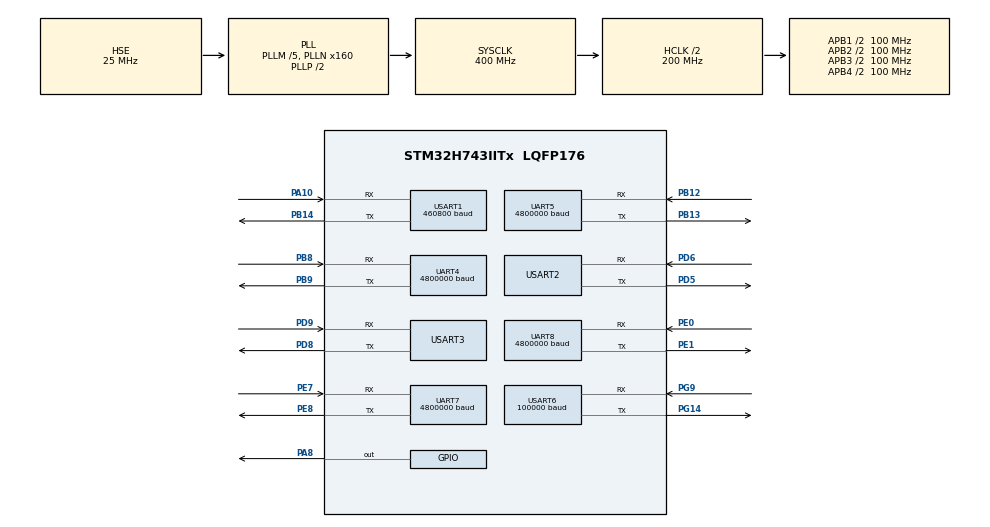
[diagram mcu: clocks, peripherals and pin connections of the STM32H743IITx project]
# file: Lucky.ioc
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Dma.Request0=USART1_RX
Dma.Request1=USART2_RX
Dma.Request10=USART3_TX
Dma.Request2=USART3_RX
Dma.Request3=UART4_RX
Dma.Request4=UART5_RX
Dma.Request5=UART7_RX
Dma.Request6=UART8_RX
Dma.Request7=USART6_RX
Dma.Request8=USART6_TX
Dma.Request9=USART2_TX
Dma.UART4_RX.3.Direction=DMA_PERIPH_TO_MEMORY
Dma.UART4_RX.3.EventEnable=DISABLE
Dma.UART4_RX.3.FIFOMode=DMA_FIFOMODE_DISABLE
Dma.UART4_RX.3.Instance=DMA2_Stream0
Dma.UART4_RX.3.MemDataAlignment=DMA_MDATAALIGN_BYTE
Dma.UART4_RX.3.MemInc=DMA_MINC_ENABLE
Dma.UART4_RX.3.Mode=DMA_NORMAL
Dma.UART4_RX.3.PeriphDataAlignment=DMA_PDATAALIGN_BYTE
Dma.UART4_RX.3.PeriphInc=DMA_PINC_DISABLE
Dma.UART4_RX.3.Polarity=HAL_DMAMUX_REQ_GEN_RISING
Dma.UART4_RX.3.Priority=DMA_PRIORITY_LOW
Dma.UART4_RX.3.RequestNumber=1
Dma.UART4_RX.3.SignalID=NONE
Dma.UART4_RX.3.SyncEnable=DISABLE
Dma.UART4_RX.3.SyncPolarity=HAL_DMAMUX_SYNC_NO_EVENT
Dma.UART4_RX.3.SyncRequestNumber=1
Dma.UART4_RX.3.SyncSignalID=NONE
Dma.UART5_RX.4.Direction=DMA_PERIPH_TO_MEMORY
Dma.UART5_RX.4.EventEnable=DISABLE
Dma.UART5_RX.4.FIFOMode=DMA_FIFOMODE_DISABLE
Dma.UART5_RX.4.Instance=DMA2_Stream1
Dma.UART5_RX.4.MemDataAlignment=DMA_MDATAALIGN_BYTE
Dma.UART5_RX.4.MemInc=DMA_MINC_ENABLE
Dma.UART5_RX.4.Mode=DMA_NORMAL
Dma.UART5_RX.4.PeriphDataAlignment=DMA_PDATAALIGN_BYTE
Dma.UART5_RX.4.PeriphInc=DMA_PINC_DISABLE
Dma.UART5_RX.4.Polarity=HAL_DMAMUX_REQ_GEN_RISING
Dma.UART5_RX.4.Priority=DMA_PRIORITY_LOW
Dma.UART5_RX.4.RequestNumber=1
Dma.UART5_RX.4.SignalID=NONE
Dma.UART5_RX.4.SyncEnable=DISABLE
Dma.UART5_RX.4.SyncPolarity=HAL_DMAMUX_SYNC_NO_EVENT
Dma.UART5_RX.4.SyncRequestNumber=1
Dma.UART5_RX.4.SyncSignalID=NONE
Dma.UART7_RX.5.Direction=DMA_PERIPH_TO_MEMORY
Dma.UART7_RX.5.EventEnable=DISABLE
Dma.UART7_RX.5.FIFOMode=DMA_FIFOMODE_DISABLE
Dma.UART7_RX.5.Instance=DMA1_Stream0
Dma.UART7_RX.5.MemDataAlignment=DMA_MDATAALIGN_BYTE
Dma.UART7_RX.5.MemInc=DMA_MINC_ENABLE
Dma.UART7_RX.5.Mode=DMA_NORMAL
Dma.UART7_RX.5.PeriphDataAlignment=DMA_PDATAALIGN_BYTE
Dma.UART7_RX.5.PeriphInc=DMA_PINC_DISABLE
Dma.UART7_RX.5.Polarity=HAL_DMAMUX_REQ_GEN_RISING
Dma.UART7_RX.5.Priority=DMA_PRIORITY_LOW
Dma.UART7_RX.5.RequestNumber=1
Dma.UART7_RX.5.SignalID=NONE
Dma.UART7_RX.5.SyncEnable=DISABLE
Dma.UART7_RX.5.SyncPolarity=HAL_DMAMUX_SYNC_NO_EVENT
Dma.UART7_RX.5.SyncRequestNumber=1
Dma.UART7_RX.5.SyncSignalID=NONE
Dma.UART8_RX.6.Direction=DMA_PERIPH_TO_MEMORY
Dma.UART8_RX.6.EventEnable=DISABLE
Dma.UART8_RX.6.FIFOMode=DMA_FIFOMODE_DISABLE
Dma.UART8_RX.6.Instance=DMA1_Stream1
Dma.UART8_RX.6.MemDataAlignment=DMA_MDATAALIGN_BYTE
Dma.UART8_RX.6.MemInc=DMA_MINC_ENABLE
Dma.UART8_RX.6.Mode=DMA_NORMAL
Dma.UART8_RX.6.PeriphDataAlignment=DMA_PDATAALIGN_BYTE
Dma.UART8_RX.6.PeriphInc=DMA_PINC_DISABLE
Dma.UART8_RX.6.Polarity=HAL_DMAMUX_REQ_GEN_RISING
Dma.UART8_RX.6.Priority=DMA_PRIORITY_LOW
Dma.UART8_RX.6.RequestNumber=1
Dma.UART8_RX.6.SignalID=NONE
Dma.UART8_RX.6.SyncEnable=DISABLE
Dma.UART8_RX.6.SyncPolarity=HAL_DMAMUX_SYNC_NO_EVENT
Dma.UART8_RX.6.SyncRequestNumber=1
Dma.UART8_RX.6.SyncSignalID=NONE
Dma.USART1_RX.0.Direction=DMA_PERIPH_TO_MEMORY
Dma.USART1_RX.0.EventEnable=DISABLE
Dma.USART1_RX.0.FIFOMode=DMA_FIFOMODE_DISABLE
Dma.USART1_RX.0.Instance=DMA1_Stream4
Dma.USART1_RX.0.MemDataAlignment=DMA_MDATAALIGN_BYTE
Dma.USART1_RX.0.MemInc=DMA_MINC_ENABLE
Dma.USART1_RX.0.Mode=DMA_NORMAL
Dma.USART1_RX.0.PeriphDataAlignment=DMA_PDATAALIGN_BYTE
Dma.USART1_RX.0.PeriphInc=DMA_PINC_DISABLE
Dma.USART1_RX.0.Polarity=HAL_DMAMUX_REQ_GEN_RISING
Dma.USART1_RX.0.Priority=DMA_PRIORITY_LOW
Dma.USART1_RX.0.RequestNumber=1
Dma.USART1_RX.0.SignalID=NONE
Dma.USART1_RX.0.SyncEnable=DISABLE
Dma.USART1_RX.0.SyncPolarity=HAL_DMAMUX_SYNC_NO_EVENT
Dma.USART1_RX.0.SyncRequestNumber=1
Dma.USART1_RX.0.SyncSignalID=NONE
Dma.USART2_RX.1.Direction=DMA_PERIPH_TO_MEMORY
Dma.USART2_RX.1.EventEnable=DISABLE
Dma.USART2_RX.1.FIFOMode=DMA_FIFOMODE_DISABLE
Dma.USART2_RX.1.Instance=DMA1_Stream5
Dma.USART2_RX.1.MemDataAlignment=DMA_MDATAALIGN_BYTE
Dma.USART2_RX.1.MemInc=DMA_MINC_ENABLE
Dma.USART2_RX.1.Mode=DMA_NORMAL
Dma.USART2_RX.1.PeriphDataAlignment=DMA_PDATAALIGN_BYTE
Dma.USART2_RX.1.PeriphInc=DMA_PINC_DISABLE
Dma.USART2_RX.1.Polarity=HAL_DMAMUX_REQ_GEN_RISING
Dma.USART2_RX.1.Priority=DMA_PRIORITY_LOW
Dma.USART2_RX.1.RequestNumber=1
Dma.USART2_RX.1.SignalID=NONE
Dma.USART2_RX.1.SyncEnable=DISABLE
Dma.USART2_RX.1.SyncPolarity=HAL_DMAMUX_SYNC_NO_EVENT
Dma.USART2_RX.1.SyncRequestNumber=1
Dma.USART2_RX.1.SyncSignalID=NONE
Dma.USART2_TX.9.Direction=DMA_MEMORY_TO_PERIPH
Dma.USART2_TX.9.EventEnable=DISABLE
Dma.USART2_TX.9.FIFOMode=DMA_FIFOMODE_DISABLE
Dma.USART2_TX.9.Instance=DMA1_Stream7
Dma.USART2_TX.9.MemDataAlignment=DMA_MDATAALIGN_BYTE
Dma.USART2_TX.9.MemInc=DMA_MINC_ENABLE
Dma.USART2_TX.9.Mode=DMA_NORMAL
Dma.USART2_TX.9.PeriphDataAlignment=DMA_PDATAALIGN_BYTE
Dma.USART2_TX.9.PeriphInc=DMA_PINC_DISABLE
Dma.USART2_TX.9.Polarity=HAL_DMAMUX_REQ_GEN_RISING
Dma.USART2_TX.9.Priority=DMA_PRIORITY_LOW
Dma.USART2_TX.9.RequestNumber=1
Dma.USART2_TX.9.SignalID=NONE
Dma.USART2_TX.9.SyncEnable=DISABLE
Dma.USART2_TX.9.SyncPolarity=HAL_DMAMUX_SYNC_NO_EVENT
Dma.USART2_TX.9.SyncRequestNumber=1
Dma.USART2_TX.9.SyncSignalID=NONE
Dma.USART3_RX.2.Direction=DMA_PERIPH_TO_MEMORY
Dma.USART3_RX.2.EventEnable=DISABLE
Dma.USART3_RX.2.FIFOMode=DMA_FIFOMODE_DISABLE
Dma.USART3_RX.2.Instance=DMA1_Stream6
Dma.USART3_RX.2.MemDataAlignment=DMA_MDATAALIGN_BYTE
Dma.USART3_RX.2.MemInc=DMA_MINC_ENABLE
Dma.USART3_RX.2.Mode=DMA_NORMAL
Dma.USART3_RX.2.PeriphDataAlignment=DMA_PDATAALIGN_BYTE
Dma.USART3_RX.2.PeriphInc=DMA_PINC_DISABLE
Dma.USART3_RX.2.Polarity=HAL_DMAMUX_REQ_GEN_RISING
Dma.USART3_RX.2.Priority=DMA_PRIORITY_LOW
Dma.USART3_RX.2.RequestNumber=1
Dma.USART3_RX.2.SignalID=NONE
Dma.USART3_RX.2.SyncEnable=DISABLE
Dma.USART3_RX.2.SyncPolarity=HAL_DMAMUX_SYNC_NO_EVENT
Dma.USART3_RX.2.SyncRequestNumber=1
Dma.USART3_RX.2.SyncSignalID=NONE
Dma.USART3_TX.10.Direction=DMA_MEMORY_TO_PERIPH
Dma.USART3_TX.10.EventEnable=DISABLE
Dma.USART3_TX.10.FIFOMode=DMA_FIFOMODE_DISABLE
Dma.USART3_TX.10.Instance=DMA2_Stream2
Dma.USART3_TX.10.MemDataAlignment=DMA_MDATAALIGN_BYTE
Dma.USART3_TX.10.MemInc=DMA_MINC_ENABLE
Dma.USART3_TX.10.Mode=DMA_NORMAL
Dma.USART3_TX.10.PeriphDataAlignment=DMA_PDATAALIGN_BYTE
Dma.USART3_TX.10.PeriphInc=DMA_PINC_DISABLE
Dma.USART3_TX.10.Polarity=HAL_DMAMUX_REQ_GEN_RISING
Dma.USART3_TX.10.Priority=DMA_PRIORITY_LOW
Dma.USART3_TX.10.RequestNumber=1
Dma.USART3_TX.10.SignalID=NONE
Dma.USART3_TX.10.SyncEnable=DISABLE
Dma.USART3_TX.10.SyncPolarity=HAL_DMAMUX_SYNC_NO_EVENT
Dma.USART3_TX.10.SyncRequestNumber=1
Dma.USART3_TX.10.SyncSignalID=NONE
Dma.USART6_RX.7.Direction=DMA_PERIPH_TO_MEMORY
Dma.USART6_RX.7.EventEnable=DISABLE
Dma.USART6_RX.7.FIFOMode=DMA_FIFOMODE_DISABLE
Dma.USART6_RX.7.Instance=DMA1_Stream2
Dma.USART6_RX.7.MemDataAlignment=DMA_MDATAALIGN_BYTE
Dma.USART6_RX.7.MemInc=DMA_MINC_ENABLE
Dma.USART6_RX.7.Mode=DMA_NORMAL
Dma.USART6_RX.7.PeriphDataAlignment=DMA_PDATAALIGN_BYTE
Dma.USART6_RX.7.PeriphInc=DMA_PINC_DISABLE
Dma.USART6_RX.7.Polarity=HAL_DMAMUX_REQ_GEN_RISING
Dma.USART6_RX.7.Priority=DMA_PRIORITY_LOW
Dma.USART6_RX.7.RequestNumber=1
Dma.USART6_RX.7.SignalID=NONE
Dma.USART6_RX.7.SyncEnable=DISABLE
Dma.USART6_RX.7.SyncPolarity=HAL_DMAMUX_SYNC_NO_EVENT
Dma.USART6_RX.7.SyncRequestNumber=1
Dma.USART6_RX.7.SyncSignalID=NONE
Dma.USART6_TX.8.Direction=DMA_MEMORY_TO_PERIPH
Dma.USART6_TX.8.EventEnable=DISABLE
Dma.USART6_TX.8.FIFOMode=DMA_FIFOMODE_DISABLE
Dma.USART6_TX.8.Instance=DMA1_Stream3
Dma.USART6_TX.8.MemDataAlignment=DMA_MDATAALIGN_BYTE
Dma.USART6_TX.8.MemInc=DMA_MINC_ENABLE
Dma.USART6_TX.8.Mode=DMA_NORMAL
Dma.USART6_TX.8.PeriphDataAlignment=DMA_PDATAALIGN_BYTE
Dma.USART6_TX.8.PeriphInc=DMA_PINC_DISABLE
Dma.USART6_TX.8.Polarity=HAL_DMAMUX_REQ_GEN_RISING
Dma.USART6_TX.8.Priority=DMA_PRIORITY_LOW
Dma.USART6_TX.8.RequestNumber=1
Dma.USART6_TX.8.SignalID=NONE
Dma.USART6_TX.8.SyncEnable=DISABLE
Dma.USART6_TX.8.SyncPolarity=HAL_DMAMUX_SYNC_NO_EVENT
Dma.USART6_TX.8.SyncRequestNumber=1
Dma.USART6_TX.8.SyncSignalID=NONE
FREERTOS.Tasks01=Spd_Race,0,128,Spd_Race_Ctl,Default,NULL,Dynamic,NULL,NULL;Gamepad,-3,128,Gamepad_Ctl,Default,NULL,Dynamic,NULL,NULL;debug,-3,128,debug_fun,Default,NULL,Dynamic,NULL,NULL
Mcu.Family=STM32H7
Mcu.Name=STM32H743IITx
Mcu.Package=LQFP176
NVIC.DMA1_Stream0_IRQn=true\:5\:0\:false\:false\:true\:true\:false\:true\:true
NVIC.DMA1_Stream1_IRQn=true\:5\:0\:false\:false\:true\:true\:false\:true\:true
NVIC.DMA1_Stream2_IRQn=true\:5\:0\:false\:false\:true\:true\:false\:true\:true
NVIC.DMA1_Stream3_IRQn=true\:5\:0\:false\:false\:true\:true\:false\:true\:true
NVIC.DMA1_Stream4_IRQn=true\:5\:0\:false\:false\:true\:true\:false\:true\:true
NVIC.DMA1_Stream5_IRQn=true\:5\:0\:false\:false\:true\:true\:false\:true\:true
NVIC.DMA1_Stream6_IRQn=true\:5\:0\:false\:false\:true\:true\:false\:true\:true
NVIC.DMA1_Stream7_IRQn=true\:5\:0\:false\:false\:true\:true\:false\:true\:true
NVIC.DMA2_Stream0_IRQn=true\:5\:0\:false\:false\:true\:true\:false\:true\:true
NVIC.DMA2_Stream1_IRQn=true\:5\:0\:false\:false\:true\:true\:false\:true\:true
NVIC.DMA2_Stream2_IRQn=true\:5\:0\:false\:false\:true\:true\:false\:true\:true
NVIC.PriorityGroup=NVIC_PRIORITYGROUP_4
NVIC.TIM17_IRQn=true\:15\:0\:false\:false\:true\:false\:false\:true\:true
NVIC.TIM2_IRQn=true\:5\:0\:false\:false\:true\:true\:true\:true\:true
NVIC.TIM3_IRQn=true\:5\:0\:false\:false\:true\:true\:true\:true\:true
NVIC.TIM4_IRQn=true\:5\:0\:false\:false\:true\:true\:true\:true\:true
NVIC.TIM5_IRQn=true\:5\:0\:false\:false\:true\:true\:true\:true\:true
NVIC.TimeBase=TIM17_IRQn
NVIC.TimeBaseIP=TIM17
NVIC.UART4_IRQn=true\:5\:0\:false\:false\:true\:true\:true\:true\:true
NVIC.UART5_IRQn=true\:5\:0\:false\:false\:true\:true\:true\:true\:true
NVIC.UART7_IRQn=true\:5\:0\:false\:false\:true\:true\:true\:true\:true
NVIC.UART8_IRQn=true\:5\:0\:false\:false\:true\:true\:true\:true\:true
NVIC.USART1_IRQn=true\:5\:0\:false\:false\:true\:true\:true\:true\:true
NVIC.USART2_IRQn=true\:5\:0\:false\:false\:true\:true\:true\:true\:true
NVIC.USART3_IRQn=true\:5\:0\:false\:false\:true\:true\:true\:true\:true
NVIC.USART6_IRQn=true\:5\:0\:false\:false\:true\:true\:true\:true\:true
PA10.Mode=Asynchronous
PA10.Signal=USART1_RX
PA13\ (JTMS/SWDIO).Mode=Serial_Wire
PA13\ (JTMS/SWDIO).Signal=DEBUG_JTMS-SWDIO
PA14\ (JTCK/SWCLK).Mode=Serial_Wire
PA14\ (JTCK/SWCLK).Signal=DEBUG_JTCK-SWCLK
PA8.PinState=GPIO_PIN_SET
PA8.Signal=GPIO_Output
PB12.Mode=Asynchronous
PB12.Signal=UART5_RX
PB13.Mode=Asynchronous
PB13.Signal=UART5_TX
PB14.Mode=Asynchronous
PB14.Signal=USART1_TX
PB8.Mode=Asynchronous
PB8.Signal=UART4_RX
PB9.Mode=Asynchronous
PB9.Signal=UART4_TX
PC14-OSC32_IN\ (OSC32_IN).Mode=LSE-External-Oscillator
PC14-OSC32_IN\ (OSC32_IN).Signal=RCC_OSC32_IN
PC15-OSC32_OUT\ (OSC32_OUT).Mode=LSE-External-Oscillator
PC15-OSC32_OUT\ (OSC32_OUT).Signal=RCC_OSC32_OUT
PD5.Mode=Asynchronous
PD5.Signal=USART2_TX
PD6.Mode=Asynchronous
PD6.Signal=USART2_RX
PD8.Mode=Asynchronous
PD8.Signal=USART3_TX
PD9.Mode=Asynchronous
PD9.Signal=USART3_RX
PE0.Mode=Asynchronous
PE0.Signal=UART8_RX
PE1.Mode=Asynchronous
PE1.Signal=UART8_TX
PE7.Mode=Asynchronous
PE7.Signal=UART7_RX
PE8.Mode=Asynchronous
PE8.Signal=UART7_TX
PG14.Mode=Asynchronous
PG14.Signal=USART6_TX
PG9.Mode=Asynchronous
PG9.Signal=USART6_RX
PH0-OSC_IN\ (PH0).Mode=HSE-External-Oscillator
PH0-OSC_IN\ (PH0).Signal=RCC_OSC_IN
PH1-OSC_OUT\ (PH1).Mode=HSE-External-Oscillator
PH1-OSC_OUT\ (PH1).Signal=RCC_OSC_OUT
ProjectManager.HeapSize=0x200
ProjectManager.StackSize=0x400
ProjectManager.TargetToolchain=MDK-ARM V5.32
RCC.ADCFreq_Value=50390625
RCC.APB1Freq_Value=100000000
RCC.APB2Freq_Value=100000000
RCC.APB3Freq_Value=100000000
RCC.APB4Freq_Value=100000000
RCC.CortexFreq_Value=400000000
RCC.D1PPRE=RCC_APB3_DIV2
RCC.D2PPRE1=RCC_APB1_DIV2
RCC.D2PPRE2=RCC_APB2_DIV2
RCC.D3PPRE=RCC_APB4_DIV2
RCC.DIVM1=5
RCC.DIVN1=160
RCC.HCLKFreq_Value=200000000
RCC.HPRE=RCC_HCLK_DIV2
RCC.PLLSourceVirtual=RCC_PLLSOURCE_HSE
RCC.SYSCLKFreq_VALUE=400000000
RCC.SYSCLKSource=RCC_SYSCLKSOURCE_PLLCLK
RCC.USBFreq_Value=400000000
TIM2.AutoReloadPreload=TIM_AUTORELOAD_PRELOAD_ENABLE
TIM2.Period=200-1
TIM2.Prescaler=200-1
TIM3.Period=3000-1
TIM3.Prescaler=200-1
TIM4.AutoReloadPreload=TIM_AUTORELOAD_PRELOAD_ENABLE
TIM4.Period=5000-1
TIM4.Prescaler=200-1
TIM5.AutoReloadPreload=TIM_AUTORELOAD_PRELOAD_ENABLE
TIM5.Period=5000-1
TIM5.Prescaler=1000-1
UART4.BaudRate=4800000
UART4.FIFOMode=FIFOMODE_ENABLE
UART4.RXFIFOThreshold=RXFIFO_THRESHOLD_HALFFULL
UART4.TXFIFOThreshold=TXFIFO_THRESHOLD_1EIGHTHFULL
UART5.BaudRate=4800000
UART5.FIFOMode=FIFOMODE_ENABLE
UART5.RXFIFOThreshold=RXFIFO_THRESHOLD_HALFFULL
UART5.TXFIFOThreshold=TXFIFO_THRESHOLD_1EIGHTHFULL
UART7.BaudRate=4800000
UART7.FIFOMode=FIFOMODE_ENABLE
UART7.RXFIFOThreshold=RXFIFO_THRESHOLD_HALFFULL
UART7.TXFIFOThreshold=TXFIFO_THRESHOLD_1EIGHTHFULL
UART8.BaudRate=4800000
UART8.FIFOMode=FIFOMODE_ENABLE
UART8.RXFIFOThreshold=RXFIFO_THRESHOLD_HALFFULL
UART8.TXFIFOThreshold=TXFIFO_THRESHOLD_1EIGHTHFULL
USART1.BaudRate=460800
USART1.TXFIFOThreshold=TXFIFO_THRESHOLD_EMPTY
USART1.VirtualMode-Asynchronous=VM_ASYNC
USART2.TXFIFOThreshold=TXFIFO_THRESHOLD_EMPTY
USART2.VirtualMode-Asynchronous=VM_ASYNC
USART3.TXFIFOThreshold=TXFIFO_THRESHOLD_EMPTY
USART3.VirtualMode-Asynchronous=VM_ASYNC
USART6.BaudRate=100000
USART6.Parity=PARITY_EVEN
USART6.RxPinLevelInvertParam=ADVFEATURE_RXINV_ENABLE
USART6.StopBits=STOPBITS_2
USART6.TXFIFOThreshold=TXFIFO_THRESHOLD_EMPTY
USART6.VirtualMode-Asynchronous=VM_ASYNC
USART6.WordLength=WORDLENGTH_9B
VP_FREERTOS_VS_CMSIS_V1.Mode=CMSIS_V1
VP_SYS_VS_tim17.Mode=TIM17
VP_TIM2_VS_ClockSourceINT.Mode=Internal
VP_TIM3_VS_ClockSourceINT.Mode=Internal
VP_TIM4_VS_ClockSourceINT.Mode=Internal
VP_TIM5_VS_ClockSourceINT.Mode=Internal
board=custom

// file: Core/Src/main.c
/* USER CODE BEGIN Header */
/**
  ******************************************************************************
  * @file           : main.c
  * @brief          : Main program body
  ******************************************************************************
  * @attention
  *
  * Copyright (c) 2024 STMicroelectronics.
  * All rights reserved.
  *
  * This software is licensed under terms that can be found in the LICENSE file
  * in the root directory of this software component.
  * If no LICENSE file comes with this software, it is provided AS-IS.
  *
  ******************************************************************************
  */
/* USER CODE END Header */
#include "main.h"
#include "cmsis_os.h"
#include "dma.h"
#include "tim.h"
#include "usart.h"
#include "gpio.h"

/* USER CODE BEGIN Includes */
#include "my_uart.h"
#include "timer.h"
#include "A1_motor.h"
#include "dog.h"
#include "fsm.h"
#include "combination.h"
#include "jump.h"
#include "imu.h"
#include "handkey.h"
#include "walk.h"
#include "control.h"
#include "pos_ctrl.h"
#include "delay_dwt.h"

/* USER CODE END Includes */

/* USER CODE BEGIN PV */
extern A1_Motor_Struct motor[8];

/* USER CODE END PV */

void SystemClock_Config(void);
void MX_FREERTOS_Init(void);

int main(void)
{

  /* MCU Configuration--------------------------------------------------------*/

  /* Reset of all peripherals, Initializes the Flash interface and the Systick. */
  HAL_Init();

  /* Configure the system clock */
  SystemClock_Config();

  /* Initialize all configured peripherals */
  MX_GPIO_Init();
  MX_DMA_Init();
  MX_TIM3_Init();
  MX_TIM4_Init();
  MX_TIM5_Init();
  MX_UART4_Init();
  MX_UART5_Init();
  MX_UART7_Init();
  MX_UART8_Init();
  MX_USART1_UART_Init();
  MX_USART2_UART_Init();
  MX_USART3_UART_Init();
  MX_USART6_UART_Init();
  MX_TIM2_Init();
  /* USER CODE BEGIN 2 */
  usart_start_recv();
  MotorInit();
  TIM2_Start(); // 先开定时器给电机发送数据,才能接收到回传的数据
  TIM3_Start();
  TIM4_Start(); // 串口上位机
  TIM5_Start();

  motor_waiting(); // 等待电机接收到回传数据
	/*

	谁用HAL_Delay谁死！！！程序直接脱机卡死

	*/
  Delay_ms(2000); // 防止电机抖动
  leg_init();      // 初始化腿参数

  SetAllMotorMode(0);
  Leg_Initpos_Reset();

  motor[0].mode = 10;
  motor[1].mode = 10;
  motor[2].mode = 10;
  motor[3].mode = 10;
  motor[4].mode = 10;
  motor[5].mode = 10;
  motor[6].mode = 10;
  motor[7].mode = 10;

  // 删掉  __HAL_LOCK(__HANDLE__)
  // HAL_StatusTypeDef HAL_DMA_Start_IT(DMA_HandleTypeDef *hdma, uint32_t SrcAddress, uint32_t DstAddress, uint32_t DataLength)
  // HAL_StatusTypeDef HAL_UARTEx_DisableFifoMode(UART_HandleTypeDef *huart)

  //  for (int ita = 0; ita < 4; ita++)
  //  {
  //    leg[ita].now.Pos_Filter.Max_AMP_x = 0.1f;
  //    leg[ita].now.Pos_Filter.Max_AMP_z = 0.2f;
  //    leg[ita].now.Force_Filter.Max_AMP_x = 2.0f;
  //    leg[ita].now.Force_Filter.Max_AMP_z = 2.0f;
  //  }
  Change_Ctrl_State(Force_Ctrl);
  Delay_ms(500);
  GetTick(); // 获取当前时间

  ChangeDogState(Stand);
  GetTick();

  while (GetDogWhetherChangeAble() == DISABLE);
  extern JumpType Jumptype;
  Jumptype = First_Step;

  /* USER CODE END 2 */

  /* Call init function for freertos objects (in freertos.c) */
  MX_FREERTOS_Init();

  /* Start scheduler */
  osKernelStart();
  /* We should never get here as control is now taken by the scheduler */
  /* Infinite loop */
  while (1)
  {

  }
}

void SystemClock_Config(void)
{
  RCC_OscInitTypeDef RCC_OscInitStruct = {0};
  RCC_ClkInitTypeDef RCC_ClkInitStruct = {0};

  /** Supply configuration update enable
  */
  HAL_PWREx_ConfigSupply(PWR_LDO_SUPPLY);

  /** Configure the main internal regulator output voltage
  */
  __HAL_PWR_VOLTAGESCALING_CONFIG(PWR_REGULATOR_VOLTAGE_SCALE1);

  while(!__HAL_PWR_GET_FLAG(PWR_FLAG_VOSRDY)) {}

  /** Initializes the RCC Oscillators according to the specified parameters
  * in the RCC_OscInitTypeDef structure.
  */
  RCC_OscInitStruct.OscillatorType = RCC_OSCILLATORTYPE_HSE;
  RCC_OscInitStruct.HSEState = RCC_HSE_ON;
  RCC_OscInitStruct.PLL.PLLState = RCC_PLL_ON;
  RCC_OscInitStruct.PLL.PLLSource = RCC_PLLSOURCE_HSE;
  RCC_OscInitStruct.PLL.PLLM = 5;
  RCC_OscInitStruct.PLL.PLLN = 160;
  RCC_OscInitStruct.PLL.PLLP = 2;
  RCC_OscInitStruct.PLL.PLLQ = 2;
  RCC_OscInitStruct.PLL.PLLR = 2;
  RCC_OscInitStruct.PLL.PLLRGE = RCC_PLL1VCIRANGE_2;
  RCC_OscInitStruct.PLL.PLLVCOSEL = RCC_PLL1VCOWIDE;
  RCC_OscInitStruct.PLL.PLLFRACN = 0;
  if (HAL_RCC_OscConfig(&RCC_OscInitStruct) != HAL_OK)
  {
    Error_Handler();
  }

  /** Initializes the CPU, AHB and APB buses clocks
  */
  RCC_ClkInitStruct.ClockType = RCC_CLOCKTYPE_HCLK|RCC_CLOCKTYPE_SYSCLK
                              |RCC_CLOCKTYPE_PCLK1|RCC_CLOCKTYPE_PCLK2
                              |RCC_CLOCKTYPE_D3PCLK1|RCC_CLOCKTYPE_D1PCLK1;
  RCC_ClkInitStruct.SYSCLKSource = RCC_SYSCLKSOURCE_PLLCLK;
  RCC_ClkInitStruct.SYSCLKDivider = RCC_SYSCLK_DIV1;
  RCC_ClkInitStruct.AHBCLKDivider = RCC_HCLK_DIV2;
  RCC_ClkInitStruct.APB3CLKDivider = RCC_APB3_DIV2;
  RCC_ClkInitStruct.APB1CLKDivider = RCC_APB1_DIV2;
  RCC_ClkInitStruct.APB2CLKDivider = RCC_APB2_DIV2;
  RCC_ClkInitStruct.APB4CLKDivider = RCC_APB4_DIV2;

  if (HAL_RCC_ClockConfig(&RCC_ClkInitStruct, FLASH_LATENCY_2) != HAL_OK)
  {
    Error_Handler();
  }
}

void HAL_TIM_PeriodElapsedCallback(TIM_HandleTypeDef *htim)
{
  /* USER CODE BEGIN Callback 0 */
#if IS_USE_FREERTOS
    uint32_t status_value;
    status_value = taskENTER_CRITICAL_FROM_ISR(); // 临界段代码保护
#endif

	 if (htim == &htim2) // 定时器2中断函数  0.2ms 必须是0.2ms 否则达不到控制频率 输出和目标差一个相位 腿直接疯！！！！！
    {
        A1_All_Send();
    }
    if (htim == &htim3) // 定时器3中断函数  3ms
    {
        Euler_Update(&Euler_Angle);
        DogFSM(); // 3ms进行一次插值
    }
    if (htim == &htim4) // 2ms 串口上位机
    {
        ano_tc();
//				Gamepad_stop_flag++;
//				if(Gamepad_stop_flag >= 400)
//				{
//					ChangeDogState(Keep);
//				}
    }
    if (htim == &htim5) // 定时器4中断函数
    {
        usart_reset();
    }

  /* USER CODE END Callback 0 */
  if (htim->Instance == TIM17) {
    HAL_IncTick();
  }
  /* USER CODE BEGIN Callback 1 */
#if IS_USE_FREERTOS
    taskEXIT_CRITICAL_FROM_ISR(status_value);
#endif
  /* USER CODE END Callback 1 */
}

void Error_Handler(void)
{
  __disable_irq();
  while (1)
  {
  }
}

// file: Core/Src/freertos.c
/* USER CODE BEGIN Header */
/**
  ******************************************************************************
  * File Name          : freertos.c
  * Description        : Code for freertos applications
  ******************************************************************************
  * @attention
  *
  * Copyright (c) 2024 STMicroelectronics.
  * All rights reserved.
  *
  * This software is licensed under terms that can be found in the LICENSE file
  * in the root directory of this software component.
  * If no LICENSE file comes with this software, it is provided AS-IS.
  *
  ******************************************************************************
  */
/* USER CODE END Header */

#include "FreeRTOS.h"
#include "task.h"
#include "main.h"
#include "cmsis_os.h"

/* USER CODE BEGIN Includes */
#include "fsm.h"
#include "walk.h"
#include "Bluetooth.h"
#include "action.h"
#include "jump.h"
#include "dog.h"
#include "obstacle_course.h"
#include "pos_ctrl.h"
#include "speed_race.h"

/* USER CODE END Includes */

osThreadId Spd_RaceHandle;
osThreadId GamepadHandle;
osThreadId debugHandle;

void Spd_Race_Ctl(void const * argument);
void Gamepad_Ctl(void const * argument);
void debug_fun(void const * argument);

void MX_FREERTOS_Init(void); /* (MISRA C 2004 rule 8.1) */

/* GetIdleTaskMemory prototype (linked to static allocation support) */
void vApplicationGetIdleTaskMemory( StaticTask_t **ppxIdleTaskTCBBuffer, StackType_t **ppxIdleTaskStackBuffer, uint32_t *pulIdleTaskStackSize );

/* USER CODE BEGIN GET_IDLE_TASK_MEMORY */
static StaticTask_t xIdleTaskTCBBuffer;
static StackType_t xIdleStack[configMINIMAL_STACK_SIZE];

void vApplicationGetIdleTaskMemory( StaticTask_t **ppxIdleTaskTCBBuffer, StackType_t **ppxIdleTaskStackBuffer, uint32_t *pulIdleTaskStackSize )
{
  *ppxIdleTaskTCBBuffer = &xIdleTaskTCBBuffer;
  *ppxIdleTaskStackBuffer = &xIdleStack[0];
  *pulIdleTaskStackSize = configMINIMAL_STACK_SIZE;
  /* place for user code */
}
/* USER CODE END GET_IDLE_TASK_MEMORY */

void MX_FREERTOS_Init(void) {

  /* Create the thread(s) */
  /* definition and creation of Spd_Race */
  osThreadDef(Spd_Race, Spd_Race_Ctl, osPriorityNormal, 0, 128);
  Spd_RaceHandle = osThreadCreate(osThread(Spd_Race), NULL);

  /* definition and creation of Gamepad */
  osThreadDef(Gamepad, Gamepad_Ctl, osPriorityIdle, 0, 128);
  GamepadHandle = osThreadCreate(osThread(Gamepad), NULL);

  /* definition and creation of debug */
  osThreadDef(debug, debug_fun, osPriorityIdle, 0, 128);
  debugHandle = osThreadCreate(osThread(debug), NULL);

}

/* USER CODE BEGIN Header_Spd_Race_Ctl */

int sign_stop = 0;
void start_race(void);
int start_race_flag = 0;
int linkstart = 0;
uint8_t send2vis[8] = {0x0A,0x0E,0x00,0x00,0x00,0x00,0x00,0x05};
extern int16_t g_sbus_channels[8];
extern speed_race_param Auto_spd;
/**
  * @brief  Function implementing the Spd_Race thread.
  * @param  argument: Not used
  * @retval None
  */
/* USER CODE END Header_Spd_Race_Ctl */
void Spd_Race_Ctl(void const * argument)
{
  /* USER CODE BEGIN Spd_Race_Ctl */
  /* Infinite loop */
  for(;;)
  {
		if (start_race_flag == -2)
		{
			SetDogChangeAble(ENABLE);
			ChangeDogState(Keep);
			Change_Ctrl_State(Pos_Ctrl);
		}

		if ((start_race_flag == 1) || (start_race_flag == 2))
		{
			start_race();
			Change_Ctrl_State(Pos_Ctrl);
			Change_Dog_Pitch_State(Follow_Ground);
		}
		if (start_race_flag == -1)
		{
			SetDogChangeAble(ENABLE);
			ChangeDogState(Keep);
			Change_Ctrl_State(Force_Ctrl);
		}

//		if ((g_sbus_channels[7] == 192) && (linkstart == 0))
//		{
//			SetDogChangeAble(ENABLE);
//			ChangeDogState(Keep);
//			Change_Ctrl_State(Force_Ctrl);
//			linkstart = 1;
//
//		}
//		else if ((g_sbus_channels[7] == 992) && (linkstart == 1))
//		{
//			ChangeDogState(Stand);
//			SetDogChangeAble(ENABLE);
//			ChangeDogState(Keep);
//			Change_Ctrl_State(Pos_Ctrl);
//			linkstart = 2;
//		}
//		else if ((g_sbus_channels[7] == 1792) && (linkstart == 2))
//		{
//			Auto_spd.start_race_flag = 1;
//			Change_Ctrl_State(Pos_Ctrl);
//			Change_Dog_Pitch_State(Follow_Ground);
//			for(int i = 0;i<=100;i++)
//			if(HAL_UART_Transmit(&huart3, &send2vis[0], 8, 0xFFF) == HAL_OK)
//			linkstart = 3;
//		}
//		else if ((g_sbus_channels[7] == 1792) && (linkstart == 3))
//		{
//				start_race();
//		}
		osDelay(2);
//		if(HAL_UART_Transmit(&huart3, &send2vis[0], 8, 0xFFF) == HAL_OK);
  }
  /* USER CODE END Spd_Race_Ctl */
}

void Gamepad_Ctl(void const * argument)
{
  /* USER CODE BEGIN Gamepad_Ctl */
  /* Infinite loop */
  for(;;)
  {
		GamePad_Control_Obs();
//		GamePad_Control_Country();
    osDelay(1);
  }
  /* USER CODE END Gamepad_Ctl */
}

/* USER CODE BEGIN Header_debug_fun */

int walk_able_flag = 0;
float Pos_x = 0;
float Pos_y = 0;
void GamePad_Control_Action(void)
{
  //  Action参数
  Action_Param.VMC_Swing_Stand[0].Kp_x = Rx.Short_data[0];
  Action_Param.VMC_Swing_Stand[0].Kp_z = Rx.Short_data[1];
  Action_Param.VMC_Swing_Stand[0].Kd_x = Rx.Short_data[2];
  Action_Param.VMC_Swing_Stand[0].Kd_z = Rx.Short_data[3];

  Action_Param.VMC_Swing_Stand[1].Kp_x = Rx.Short_data[4];
  Action_Param.VMC_Swing_Stand[1].Kp_z = Rx.Short_data[5];
  Action_Param.VMC_Swing_Stand[1].Kd_x = Rx.Short_data[6];
  Action_Param.VMC_Swing_Stand[1].Kd_z = Rx.Short_data[7];

  Action_Param.VMC_Swing_Stand[2].Kp_x = Rx.Short_data[8];
  Action_Param.VMC_Swing_Stand[2].Kp_z = Rx.Short_data[9];
  Action_Param.VMC_Swing_Stand[2].Kd_x = Rx.Short_data[10];
  Action_Param.VMC_Swing_Stand[2].Kd_z = Rx.Short_data[11];

  Action_Param.VMC_Swing_Stand[3].Kp_x = Rx.Short_data[12];
  Action_Param.VMC_Swing_Stand[3].Kp_z = Rx.Short_data[13];
  Action_Param.VMC_Swing_Stand[3].Kd_x = Rx.Short_data[14];
  Action_Param.VMC_Swing_Stand[3].Kd_z = Rx.Short_data[15];

  sign_stop = Rx.Short_data[16];
  for (int i = 0; i < 4; i++)
  {
    Action_Param.VMC_Stance_Keep[i].Kp_x = Action_Param.VMC_Swing_Stand[i].Kp_x;
    Action_Param.VMC_Stance_Keep[i].Kd_x = Action_Param.VMC_Swing_Stand[i].Kd_x;
    Action_Param.VMC_Stance_Keep[i].Kp_z = Action_Param.VMC_Swing_Stand[i].Kp_z;
    Action_Param.VMC_Stance_Keep[i].Kd_z = Action_Param.VMC_Swing_Stand[i].Kd_z;
    Action_Param.VMC_Swing_Squat[i].Kp_x = Action_Param.VMC_Swing_Stand[i].Kp_x;
    Action_Param.VMC_Swing_Squat[i].Kd_x = Action_Param.VMC_Swing_Stand[i].Kd_x;
    Action_Param.VMC_Swing_Squat[i].Kp_z = Action_Param.VMC_Swing_Stand[i].Kp_z;
    Action_Param.VMC_Swing_Squat[i].Kd_z = Action_Param.VMC_Swing_Stand[i].Kd_z;
  }
}

void GamePad_Control_Gait(void)
{
  // gait参数
  gait_param.VMC_Swing_Walk[0].Kp_x = Rx.Short_data[0];
  gait_param.VMC_Swing_Walk[0].Kd_x = Rx.Short_data[1];
  gait_param.VMC_Swing_Walk[0].Kp_z = Rx.Short_data[2];
  gait_param.VMC_Swing_Walk[0].Kd_z = Rx.Short_data[3];

  gait_param.VMC_Swing_Walk[1].Kp_x = Rx.Short_data[4];
  gait_param.VMC_Swing_Walk[1].Kd_x = Rx.Short_data[5];
  gait_param.VMC_Swing_Walk[1].Kp_z = Rx.Short_data[6];
  gait_param.VMC_Swing_Walk[1].Kd_z = Rx.Short_data[7];

  gait_param.VMC_Swing_Walk[2].Kp_x = Rx.Short_data[8];
  gait_param.VMC_Swing_Walk[2].Kd_x = Rx.Short_data[9];
  gait_param.VMC_Swing_Walk[2].Kp_z = Rx.Short_data[10];
  gait_param.VMC_Swing_Walk[2].Kd_z = Rx.Short_data[11];

  gait_param.VMC_Swing_Walk[3].Kp_x = Rx.Short_data[12];
  gait_param.VMC_Swing_Walk[3].Kd_x = Rx.Short_data[13];
  gait_param.VMC_Swing_Walk[3].Kp_z = Rx.Short_data[14];
  gait_param.VMC_Swing_Walk[3].Kd_z = Rx.Short_data[15];

  gait_param.VMC_Stance_Walk[0].Kp_x = Rx.Short_data[16];
  gait_param.VMC_Stance_Walk[0].Kd_x = Rx.Short_data[17];
  gait_param.VMC_Stance_Walk[0].Kp_z = Rx.Short_data[18];
  gait_param.VMC_Stance_Walk[0].Kd_z = Rx.Short_data[19];

  gait_param.VMC_Stance_Walk[1].Kp_x = Rx.Short_data[20];
  gait_param.VMC_Stance_Walk[1].Kd_x = Rx.Short_data[21];
  gait_param.VMC_Stance_Walk[1].Kp_z = Rx.Short_data[22];
  gait_param.VMC_Stance_Walk[1].Kd_z = Rx.Short_data[23];

  gait_param.VMC_Stance_Walk[2].Kp_x = Rx.Short_data[24];
  gait_param.VMC_Stance_Walk[2].Kd_x = Rx.Short_data[25];
  gait_param.VMC_Stance_Walk[2].Kp_z = Rx.Short_data[26];
  gait_param.VMC_Stance_Walk[2].Kd_z = Rx.Short_data[27];

  gait_param.VMC_Stance_Walk[3].Kp_x = Rx.Short_data[28];
  gait_param.VMC_Stance_Walk[3].Kd_x = Rx.Short_data[29];
  gait_param.VMC_Stance_Walk[3].Kp_z = Rx.Short_data[30];
  gait_param.VMC_Stance_Walk[3].Kd_z = Rx.Short_data[31];
  sign_stop = Rx.Short_data[32];

  //  walk_able_flag = Rx.Short_data[33];
  gait_param.Dire = Rx.Short_data[35];
  gait_param.VMC_Stance_Walk[0].Feedforward_z = Rx.Short_data[36];
  gait_param.VMC_Stance_Walk[1].Feedforward_z = Rx.Short_data[37];
  gait_param.VMC_Stance_Walk[2].Feedforward_z = Rx.Short_data[38];
  gait_param.VMC_Stance_Walk[3].Feedforward_z = Rx.Short_data[39];
  leg[0].ctrl_state = Rx.Short_data[40];

  gait_param.std_step_length = Rx.Float_data[0];
  gait_param.term = Rx.Float_data[1];
  gait_param.step_height = Rx.Float_data[2];
  gait_param.step_height_down = Rx.Float_data[3];
  Pos_x = Rx.Float_data[4];
  Pos_y = Rx.Float_data[5];

  if (sqrtf(Pos_x * Pos_x + Pos_y * Pos_y) < 300)
  {
    Euler_Angle.Gamepad_Last_Yaw = 0;
    Euler_Angle.Target_Yaw = 0;
    gait_param.std_step_length = 0;
  }
  else
  {
    float Dleta_Angle1, Dleta_Angle2;
    float now_ctrl_yaw = atan2f(-Pos_x, Pos_y) * 57.296f;
    if (fabs(now_ctrl_yaw) <= 15)
      now_ctrl_yaw = 0.00001;
    if (Euler_Angle.Gamepad_Last_Yaw == 0)
    {
      Euler_Angle.Target_Yaw += now_ctrl_yaw;
      Euler_Angle.Gamepad_Last_Yaw = now_ctrl_yaw;
    }

    if (now_ctrl_yaw > (Euler_Angle.Gamepad_Last_Yaw))
    {
      Dleta_Angle1 = now_ctrl_yaw - Euler_Angle.Gamepad_Last_Yaw;
      Dleta_Angle2 = -360.0f + now_ctrl_yaw - Euler_Angle.Gamepad_Last_Yaw;
    }
    else
    {
      Dleta_Angle1 = now_ctrl_yaw - Euler_Angle.Gamepad_Last_Yaw;
      Dleta_Angle2 = 360.0f + now_ctrl_yaw - Euler_Angle.Gamepad_Last_Yaw;
    }

    if ((fabs(Dleta_Angle1)) > (fabs(Dleta_Angle2)))
    {
      Euler_Angle.Target_Yaw += Dleta_Angle2;
    }
    else
    {
      Euler_Angle.Target_Yaw += Dleta_Angle1;
    }
    Euler_Angle.Gamepad_Last_Yaw = now_ctrl_yaw;
  }
}

void GamePad_Control_Jump(void)
{
  // 	jump参数
  extern Jump_VMC_Param Jump_VMC;

  Jump_VMC.VMC_Swing[0].Kp_x = Rx.Short_data[0];
  Jump_VMC.VMC_Swing[0].Kd_x = Rx.Short_data[1];
  Jump_VMC.VMC_Swing[0].Kp_z = Rx.Short_data[2];
  Jump_VMC.VMC_Swing[0].Kd_z = Rx.Short_data[3];

  Jump_VMC.VMC_Swing[1].Kp_x = Rx.Short_data[4];
  Jump_VMC.VMC_Swing[1].Kd_x = Rx.Short_data[5];
  Jump_VMC.VMC_Swing[1].Kp_z = Rx.Short_data[6];
  Jump_VMC.VMC_Swing[1].Kd_z = Rx.Short_data[7];

  Jump_VMC.VMC_Swing[2].Kp_x = Rx.Short_data[8];
  Jump_VMC.VMC_Swing[2].Kd_x = Rx.Short_data[9];
  Jump_VMC.VMC_Swing[2].Kp_z = Rx.Short_data[10];
  Jump_VMC.VMC_Swing[2].Kd_z = Rx.Short_data[11];

  Jump_VMC.VMC_Swing[3].Kp_x = Rx.Short_data[12];
  Jump_VMC.VMC_Swing[3].Kd_x = Rx.Short_data[13];
  Jump_VMC.VMC_Swing[3].Kp_z = Rx.Short_data[14];
  Jump_VMC.VMC_Swing[3].Kd_z = Rx.Short_data[15];

  Jump_VMC.VMC_Cushion[0].Kp_x = Rx.Short_data[16];
  Jump_VMC.VMC_Cushion[0].Kd_x = Rx.Short_data[17];
  Jump_VMC.VMC_Cushion[0].Kp_z = Rx.Short_data[18];
  Jump_VMC.VMC_Cushion[0].Kd_z = Rx.Short_data[19];

  Jump_VMC.VMC_Cushion[1].Kp_x = Rx.Short_data[20];
  Jump_VMC.VMC_Cushion[1].Kd_x = Rx.Short_data[21];
  Jump_VMC.VMC_Cushion[1].Kp_z = Rx.Short_data[22];
  Jump_VMC.VMC_Cushion[1].Kd_z = Rx.Short_data[23];

  Jump_VMC.VMC_Cushion[2].Kp_x = Rx.Short_data[24];
  Jump_VMC.VMC_Cushion[2].Kd_x = Rx.Short_data[25];
  Jump_VMC.VMC_Cushion[2].Kp_z = Rx.Short_data[26];
  Jump_VMC.VMC_Cushion[2].Kd_z = Rx.Short_data[27];

  Jump_VMC.VMC_Cushion[3].Kp_x = Rx.Short_data[28];
  Jump_VMC.VMC_Cushion[3].Kd_x = Rx.Short_data[29];
  Jump_VMC.VMC_Cushion[3].Kp_z = Rx.Short_data[30];
  Jump_VMC.VMC_Cushion[3].Kd_z = Rx.Short_data[31];

  sign_stop = Rx.Short_data[32];

  extern JumpType Jumptype;
  extern JumpParam Jump_Param[15];
  for (int i = 0; i <= 3; i++)
  {
    Jump_Param[Jumptype].Prep_Rho[i] = Rx.Float_data[0];
    Jump_Param[Jumptype].Jump_Time[i] = Rx.Float_data[3];
    Jump_Param[Jumptype].Tuck_Rho[i] = Rx.Float_data[4];
    Jump_Param[Jumptype].Load_Rho[i] = Rx.Float_data[6];
    Jump_Param[Jumptype].Tuck_Time[i] = Rx.Float_data[8];
  }
//  for (int i = 0; i <= 3; i++)
//  {
//    Jump_Param[Jumptype].Std_Prep_Theta = Rx.Float_data[1];
//    Jump_Param[Jumptype].Std_Jump_Theta = Rx.Float_data[2];
//    Jump_Param[Jumptype].Std_Tuck_Theta = Rx.Float_data[5];
//    Jump_Param[Jumptype].Std_Load_Theta = Rx.Float_data[7];
//  }
}

void GamePad_Control_Block(void)
{
  leg[0].ctrl_state = Rx.Short_data[0];

  if ((Rx.Short_data[1] == 1) && (Rx.Short_data[2] == 0) && (Rx.Short_data[3] == 0))
  {
    sign_stop = 4;
  }
  else if ((Rx.Short_data[1] == 0) && (Rx.Short_data[2] == 1) && (Rx.Short_data[3] == 0) && (leg[0].ctrl_state == Force_Ctrl))
  {
    sign_stop = 1;
  }
	else if ((Rx.Short_data[1] == 0) && (Rx.Short_data[2] == 0) && (Rx.Short_data[3] == 1) && (leg[0].ctrl_state == Force_Ctrl))
  {
    sign_stop = 1;
  }
  else if ((Rx.Short_data[1] == 0) && (Rx.Short_data[2] == 0) && (Rx.Short_data[3] == 0))
  {
    sign_stop = 1;
  }
  gait_param.std_step_length = Rx.Float_data[0];
  gait_param.term = Rx.Float_data[1];
  gait_param.step_height = Rx.Float_data[2];
  gait_param.step_height_down = Rx.Float_data[3];

  Pos_x = Rx.Float_data[4];
  Pos_y = Rx.Float_data[5];

  if (sqrtf(Pos_x * Pos_x + Pos_y * Pos_y) < 300.0f)
  {
    Euler_Angle.Gamepad_Last_Yaw = 0;
    Euler_Angle.Target_Yaw = 0;
    gait_param.std_step_length = 0;
  }
  else
  {
    float Dleta_Angle1, Dleta_Angle2;
    float now_ctrl_yaw = atan2f(-Pos_x, Pos_y) * 57.296f;
    if (fabs(now_ctrl_yaw) <= 10)
      now_ctrl_yaw = 0.00001;
    if (Euler_Angle.Gamepad_Last_Yaw == 0)
    {
      Euler_Angle.Target_Yaw += now_ctrl_yaw;
      Euler_Angle.Gamepad_Last_Yaw = now_ctrl_yaw;
    }

    if (now_ctrl_yaw > (Euler_Angle.Gamepad_Last_Yaw))
    {
      Dleta_Angle1 = now_ctrl_yaw - Euler_Angle.Gamepad_Last_Yaw;
      Dleta_Angle2 = -360.0f + now_ctrl_yaw - Euler_Angle.Gamepad_Last_Yaw;
    }
    else
    {
      Dleta_Angle1 = now_ctrl_yaw - Euler_Angle.Gamepad_Last_Yaw;
      Dleta_Angle2 = 360.0f + now_ctrl_yaw - Euler_Angle.Gamepad_Last_Yaw;
    }

    if ((fabs(Dleta_Angle1)) > (fabs(Dleta_Angle2)))
    {
      Euler_Angle.Target_Yaw += Dleta_Angle2;
    }
    else
    {
      Euler_Angle.Target_Yaw += Dleta_Angle1;
    }
    Euler_Angle.Gamepad_Last_Yaw = now_ctrl_yaw;
  }
}

/**
* @brief Function implementing the debug thread.
* @param argument: Not used
* @retval None
*/
/* USER CODE END Header_debug_fun */
void debug_fun(void const * argument)
{
  /* USER CODE BEGIN debug_fun */
  /* Infinite loop */
  for(;;)
  {
		osDelay(20);

// 启动蓝牙的时候记得把定时器里面防断连打开
// 记得改bluetooth.h
//    GamePad_Control_Gait();
//    GamePad_Control_Jump(); //我现在把调整pd参数给关了，调的时候记得打开
//		GamePad_Control_Action();
//		GamePad_Control_Block();

    if (sign_stop == 1)
    {
      if (GetNowDogState() != Keep)
      {
        ChangeDogState(Keep);
      }
    }
    else if (sign_stop == 2)
    {
      if (GetNowDogState() != Squat)
      {
        ChangeDogState(Squat);
      }
    }
    else if (sign_stop == 3)
    {
      if (GetNowDogState() != Stand)
      {
        ChangeDogState(Stand);
      }
    }
    else if (sign_stop == 4)
    {
      if (GetNowDogState() != Walk)
      {
        ChangeDogState(Walk);
      }
    }
    else if (sign_stop == 5)
    {
      if (GetNowDogState() != Jump)
      {
        ChangeDogState(Jump);
      }
    }
    else if (sign_stop == 6)
    {
      if (GetNowDogState() != Backflip)
      {
        ChangeDogState(Backflip);
      }
    }
		else if (sign_stop == 7)
    {
      if (GetNowDogState() != Start)
      {
        ChangeDogState(Start);
      }
    }
  }
  /* USER CODE END debug_fun */
}
